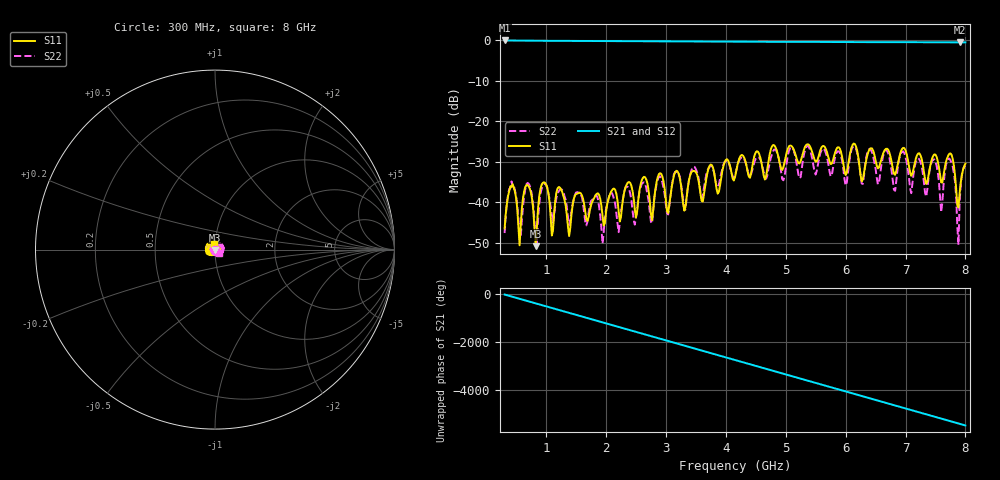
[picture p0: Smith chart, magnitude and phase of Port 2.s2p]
! RsaToolbox (C) 2014 Rohde & Schwarz America
! Number of points: 401
! Number of ports: 2
! Balanced ports?: No
# Hz S RI R 50
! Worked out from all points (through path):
!   401 points, 300 MHz to 8 GHz, reference 50 ohm
!   highest |S21| = -0.09 dB at 300 MHz (marker M1); lowest = -0.6 dB at 7.904 GHz (marker M2)
!   lowest |S11| = -50.9 dB at 819.8 MHz (marker M3), VSWR 1.01, Z = 50.2 - j0.199 ohm
!   |S11| at or under -10 dB: start of sweep to end of sweep
!   |S22| runs from -50.5 to -26.1 dB; largest |S21 - S12| = 0
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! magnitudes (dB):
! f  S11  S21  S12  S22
! 300 MHz  -46.5  -0.1  -0.1  -47.6
! 685 MHz  -35.7  -0.1  -0.1  -35.3
! 819.8 MHz  -50.9  -0.2  -0.2  -49.7
! 954.5 MHz  -35.1  -0.2  -0.2  -35.7
! 1.089 GHz  -48.2  -0.2  -0.2  -43.2
! 1.59 GHz  -38.2  -0.2  -0.2  -38.7
! 1.936 GHz  -43.4  -0.2  -0.2  -50.2
! 2.341 GHz  -35.6  -0.3  -0.3  -36.2
! 2.764 GHz  -44.5  -0.3  -0.3  -45.3
! 2.88 GHz  -33.1  -0.3  -0.3  -33.7
! 3.034 GHz  -42.6  -0.3  -0.3  -43.0
! 3.168 GHz  -32.3  -0.3  -0.3  -32.6
! 3.303 GHz  -42.1  -0.3  -0.3  -41.8
! 3.457 GHz  -32.3  -0.4  -0.4  -31.2
! 4.15 GHz  -33.8  -0.4  -0.4  -33.4
! 5.44 GHz  -27.6  -0.4  -0.4  -29.3
! 6.729 GHz  -27.7  -0.5  -0.5  -29.0
! 7.48 GHz  -28.2  -0.5  -0.5  -29.5
! 7.596 GHz  -35.1  -0.5  -0.5  -42.5
! 7.731 GHz  -28.1  -0.5  -0.5  -29.2
! 7.904 GHz  -37.7  -0.6  -0.6  -39.8
! 8 GHz  -30.5  -0.6  -0.6  -31.1
